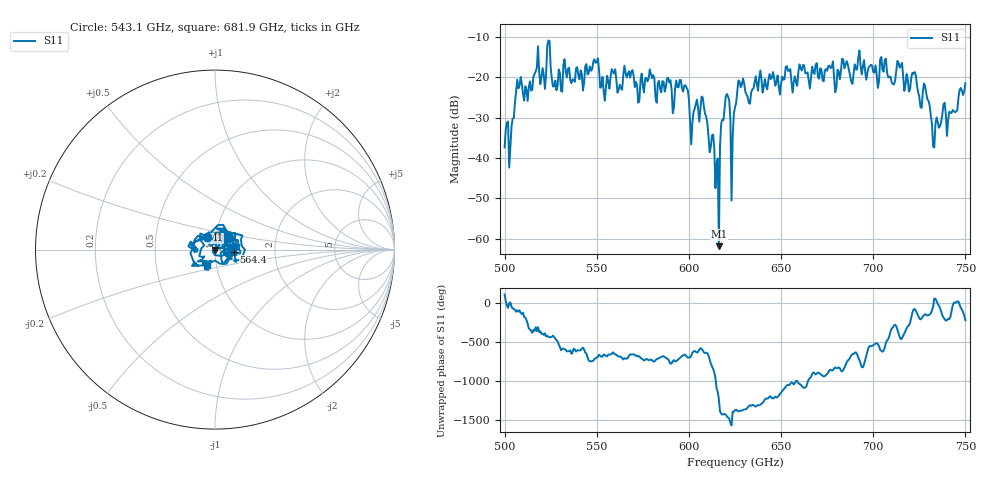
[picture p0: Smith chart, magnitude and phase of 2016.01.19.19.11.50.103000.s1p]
!Created with skrf (http://scikit-rf.org).
# GHz S RI R 50.0
!freq ReS11 ImS11
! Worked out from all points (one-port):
!   401 points, 500 GHz to 750 GHz, reference 50 ohm
!   lowest |S11| = -61.9 dB at 616.2 GHz (marker M1), VSWR 1.00, Z = 49.9 - j0.035 ohm
!   |S11| at or under -10 dB: start of sweep to end of sweep
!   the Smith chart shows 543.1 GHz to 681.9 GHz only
!   S11 on the Smith chart (normalised r, x): 543.1 GHz: 0.90, +0.13; 564.4 GHz: 1.23, -0.03; 681.9 GHz: 0.90, -0.15
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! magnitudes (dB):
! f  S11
! 500 GHz  -37.4
! 503.8 GHz  -32.2
! 508.1 GHz  -22.0
! 520.6 GHz  -17.7
! 523.8 GHz  -10.9
! 526.9 GHz  -22.3
! 531.2 GHz  -23.6
! 543.1 GHz  -21.4
! 549.4 GHz  -16.4
! 553.1 GHz  -19.9
! 562.5 GHz  -21.9
! 564.4 GHz  -19.6
! 593.8 GHz  -22.4
! 601.9 GHz  -31.3
! 608.1 GHz  -27.3
! 615 GHz  -41.3
! 616.2 GHz  -61.9
! 620 GHz  -24.7
! 623.8 GHz  -34.6
! 625 GHz  -27.5
! 628.1 GHz  -22.5
! 656.2 GHz  -23.8
! 681.9 GHz  -20.5
! 687.5 GHz  -19.6
! 718.8 GHz  -20.6
! 728.8 GHz  -24.0
! 733.1 GHz  -37.4
! 750 GHz  -21.5
